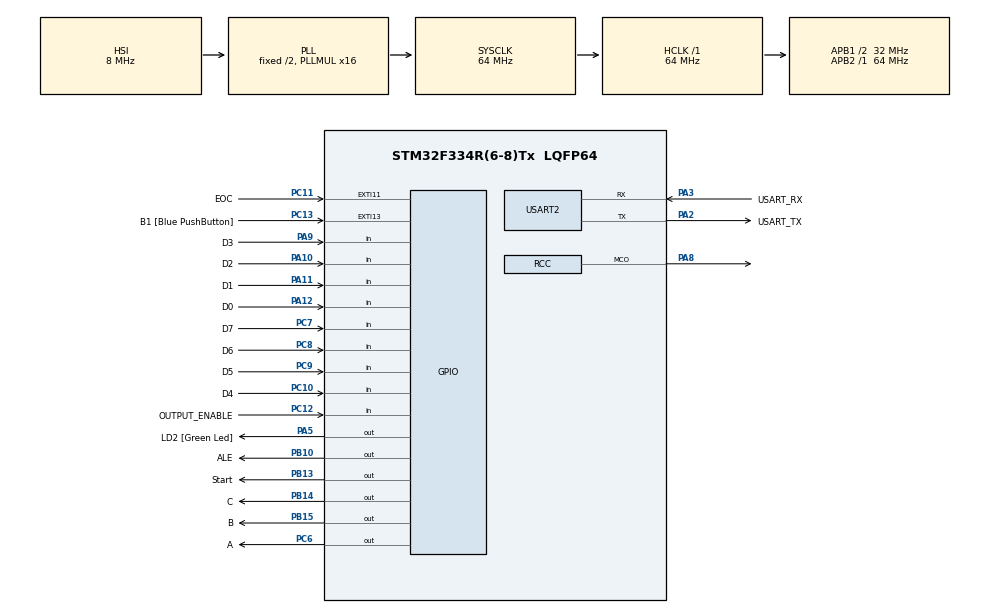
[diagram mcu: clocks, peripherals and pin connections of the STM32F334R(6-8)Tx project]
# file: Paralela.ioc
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Mcu.Family=STM32F3
Mcu.Name=STM32F334R(6-8)Tx
Mcu.Package=LQFP64
NVIC.EXTI15_10_IRQn=true\:0\:0\:false\:false\:true\:true\:true
NVIC.PriorityGroup=NVIC_PRIORITYGROUP_0
PA10.GPIO_Label=D2
PA10.Signal=GPIO_Input
PA11.GPIO_Label=D1
PA11.Signal=GPIO_Input
PA12.GPIO_Label=D0
PA12.Signal=GPIO_Input
PA13.GPIO_Label=TMS
PA13.Mode=Serial_Wire
PA13.Signal=SYS_JTMS-SWDIO
PA14.GPIO_Label=TCK
PA14.Mode=Serial_Wire
PA14.Signal=SYS_JTCK-SWCLK
PA2.GPIO_Label=USART_TX
PA2.Mode=Asynchronous
PA2.Signal=USART2_TX
PA3.GPIO_Label=USART_RX
PA3.Mode=Asynchronous
PA3.Signal=USART2_RX
PA5.GPIO_Label=LD2 [Green Led]
PA5.Signal=GPIO_Output
PA8.Mode=Clock-out
PA8.Signal=RCC_MCO
PA9.GPIO_Label=D3
PA9.Signal=GPIO_Input
PB10.GPIO_Label=ALE
PB10.Signal=GPIO_Output
PB13.GPIO_Label=Start
PB13.Signal=GPIO_Output
PB14.GPIO_Label=C
PB14.Signal=GPIO_Output
PB15.GPIO_Label=B
PB15.Signal=GPIO_Output
PB3.GPIO_Label=SWO
PB3.Signal=SYS_JTDO-TRACESWO
PC10.GPIO_Label=D4
PC10.Signal=GPIO_Input
PC11.GPIO_Label=EOC
PC11.Signal=GPXTI11
PC12.GPIO_Label=OUTPUT_ENABLE
PC12.Signal=GPIO_Input
PC13.GPIO_Label=B1 [Blue PushButton]
PC13.GPIO_ModeDefaultEXTI=GPIO_MODE_IT_FALLING
PC13.Signal=GPXTI13
PC14\ /\ OSC32_IN.Mode=LSE-External-Oscillator
PC14\ /\ OSC32_IN.Signal=RCC_OSC32_IN
PC15\ /\ OSC32_OUT.GPIO_Label=RCC_OSC32_OUT
PC15\ /\ OSC32_OUT.Mode=LSE-External-Oscillator
PC15\ /\ OSC32_OUT.Signal=RCC_OSC32_OUT
PC6.GPIO_Label=A
PC6.Signal=GPIO_Output
PC7.GPIO_Label=D7
PC7.Signal=GPIO_Input
PC8.GPIO_Label=D6
PC8.Signal=GPIO_Input
PC9.GPIO_Label=D5
PC9.Signal=GPIO_Input
PF0\ /\ OSC_IN.Mode=HSE-External-Clock-Source
PF0\ /\ OSC_IN.Signal=RCC_OSC_IN
PF1\ /\ OSC_OUT.Signal=RCC_OSC_OUT
ProjectManager.HeapSize=0x200
ProjectManager.StackSize=0x400
ProjectManager.TargetToolchain=STM32CubeIDE
RCC.AHBFreq_Value=64000000
RCC.APB1CLKDivider=RCC_HCLK_DIV2
RCC.APB1Freq_Value=32000000
RCC.APB1TimFreq_Value=64000000
RCC.APB2Freq_Value=64000000
RCC.APB2TimFreq_Value=64000000
RCC.CortexFreq_Value=64000000
RCC.FLatency-AdvancedSettings=FLASH_LATENCY_2
RCC.HCLKFreq_Value=64000000
RCC.HSE_VALUE=8000000
RCC.HSI_VALUE=8000000
RCC.PLLMUL=RCC_PLL_MUL16
RCC.RCC_MCOSource=RCC_MCO1SOURCE_LSI
RCC.SYSCLKFreq_VALUE=64000000
RCC.SYSCLKSourceVirtual=RCC_SYSCLKSOURCE_PLLCLK
USART2.VirtualMode-Asynchronous=VM_ASYNC
board=NUCLEO-F334R8

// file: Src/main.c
/* USER CODE BEGIN Header */
/**
  ******************************************************************************
  * @file           : main.c
  * @brief          : Main program body
  ******************************************************************************
  * @attention
  *
  * <h2><center>&copy; Copyright (c) 2019 STMicroelectronics.
  * All rights reserved.</center></h2>
  *
  * This software component is licensed by ST under BSD 3-Clause license,
  * the "License"; You may not use this file except in compliance with the
  * License. You may obtain a copy of the License at:
  *                        opensource.org/licenses/BSD-3-Clause
  *
  ******************************************************************************
  */
/* USER CODE END Header */

#include "main.h"

UART_HandleTypeDef huart2;

/* USER CODE BEGIN PV */
char bitDado0;
char bitDado1;
char bitDado2;
char bitDado3;
char bitDado4;
char bitDado5;
char bitDado6;
char bitDado7;

int flag_EOC=0;

char ValorLido;
char ValorEscrito;

/* USER CODE END PV */

void SystemClock_Config(void);
static void MX_GPIO_Init(void);
static void MX_USART2_UART_Init(void);

int main(void)
{
  /* USER CODE BEGIN 1 */
  HAL_UART_Transmit(&huart2, "Iniciado", 8, 1000);

  /* USER CODE END 1 */

  /* MCU Configuration--------------------------------------------------------*/

  /* Reset of all peripherals, Initializes the Flash interface and the Systick. */
  HAL_Init();

  /* Configure the system clock */
  SystemClock_Config();

  /* Initialize all configured peripherals */
  MX_GPIO_Init();
  MX_USART2_UART_Init();
  /* USER CODE BEGIN 2 */
	char outputEnable = HAL_GPIO_ReadPin(OUTPUT_ENABLE_GPIO_Port, OUTPUT_ENABLE_Pin);;

	char bitDado0 = HAL_GPIO_ReadPin(D0_GPIO_Port, D0_Pin);;  // Read state
	char bitDado1 = HAL_GPIO_ReadPin(D1_GPIO_Port, D1_Pin);;  // Read state
	char bitDado2 = HAL_GPIO_ReadPin(D2_GPIO_Port, D2_Pin);;  // Read state
	char bitDado3 = HAL_GPIO_ReadPin(D3_GPIO_Port, D3_Pin);;  // Read state
	char bitDado4 = HAL_GPIO_ReadPin(D4_GPIO_Port, D4_Pin);;  // Read state
	char bitDado5 = HAL_GPIO_ReadPin(D5_GPIO_Port, D5_Pin);;  // Read state
	char bitDado6 = HAL_GPIO_ReadPin(D6_GPIO_Port, D6_Pin);;  // Read state
	char bitDado7 = HAL_GPIO_ReadPin(D7_GPIO_Port, D7_Pin);;  // Read state

  char ValorEscrito = 0;

  	HAL_GPIO_WritePin(C_GPIO_Port, C_Pin, (ValorEscrito & 0x01));
  	HAL_GPIO_WritePin(B_GPIO_Port, B_Pin, (ValorEscrito & 0x01) >> 1);
  	HAL_GPIO_WritePin(A_GPIO_Port, A_Pin, (ValorEscrito & 0x01) >> 2);

  	HAL_GPIO_WritePin(ALE_GPIO_Port, ALE_Pin, SET);
  	HAL_Delay(100);
  	HAL_GPIO_WritePin(Start_GPIO_Port, Start_Pin, SET);
  	HAL_Delay(100);

  	HAL_GPIO_WritePin(ALE_GPIO_Port, ALE_Pin, RESET);
	HAL_Delay(100);
	HAL_GPIO_WritePin(Start_GPIO_Port, Start_Pin, RESET);
	HAL_Delay(100);

  	HAL_Delay(2000);

  	char buffer[40];
  /* USER CODE END 2 */

  /* Infinite loop */
  while (1)
  {

    /* USER CODE BEGIN 3 */

	  if(flag_EOC == 1) {
		outputEnable = HAL_GPIO_ReadPin(OUTPUT_ENABLE_GPIO_Port, OUTPUT_ENABLE_Pin);;

		bitDado0 = HAL_GPIO_ReadPin(D0_GPIO_Port, D0_Pin);;  // Read state
		bitDado1 = HAL_GPIO_ReadPin(D1_GPIO_Port, D1_Pin);;  // Read state
		bitDado2 = HAL_GPIO_ReadPin(D2_GPIO_Port, D2_Pin);;  // Read state
		bitDado3 = HAL_GPIO_ReadPin(D3_GPIO_Port, D3_Pin);;  // Read state
		bitDado4 = HAL_GPIO_ReadPin(D4_GPIO_Port, D4_Pin);;  // Read state
		bitDado5 = HAL_GPIO_ReadPin(D5_GPIO_Port, D5_Pin);;  // Read state
		bitDado6 = HAL_GPIO_ReadPin(D6_GPIO_Port, D6_Pin);;  // Read state
		bitDado7 = HAL_GPIO_ReadPin(D7_GPIO_Port, D7_Pin);;  // Read state

		ValorLido = bitDado0|(bitDado1<<1)|(bitDado2<<2)|(bitDado3<<3)|(bitDado4<<4)|(bitDado5<<5)|(bitDado6<<6)|(bitDado7<<7);
		flag_EOC = 0;
	  }

  	  sprintf(buffer,"ValorLido: %d\r\n", ValorLido);

	  HAL_UART_Transmit(&huart2, buffer, strlen(buffer), 1000);
	  HAL_Delay(1000);

	}
  /* USER CODE END 3 */
}

void SystemClock_Config(void)
{
  RCC_OscInitTypeDef RCC_OscInitStruct = {0};
  RCC_ClkInitTypeDef RCC_ClkInitStruct = {0};

  /** Initializes the CPU, AHB and APB busses clocks
  */
  RCC_OscInitStruct.OscillatorType = RCC_OSCILLATORTYPE_HSI|RCC_OSCILLATORTYPE_LSI;
  RCC_OscInitStruct.HSIState = RCC_HSI_ON;
  RCC_OscInitStruct.HSICalibrationValue = RCC_HSICALIBRATION_DEFAULT;
  RCC_OscInitStruct.LSIState = RCC_LSI_ON;
  RCC_OscInitStruct.PLL.PLLState = RCC_PLL_ON;
  RCC_OscInitStruct.PLL.PLLSource = RCC_PLLSOURCE_HSI;
  RCC_OscInitStruct.PLL.PLLMUL = RCC_PLL_MUL16;
  if (HAL_RCC_OscConfig(&RCC_OscInitStruct) != HAL_OK)
  {
    Error_Handler();
  }
  /** Initializes the CPU, AHB and APB busses clocks
  */
  RCC_ClkInitStruct.ClockType = RCC_CLOCKTYPE_HCLK|RCC_CLOCKTYPE_SYSCLK
                              |RCC_CLOCKTYPE_PCLK1|RCC_CLOCKTYPE_PCLK2;
  RCC_ClkInitStruct.SYSCLKSource = RCC_SYSCLKSOURCE_PLLCLK;
  RCC_ClkInitStruct.AHBCLKDivider = RCC_SYSCLK_DIV1;
  RCC_ClkInitStruct.APB1CLKDivider = RCC_HCLK_DIV2;
  RCC_ClkInitStruct.APB2CLKDivider = RCC_HCLK_DIV1;

  if (HAL_RCC_ClockConfig(&RCC_ClkInitStruct, FLASH_LATENCY_2) != HAL_OK)
  {
    Error_Handler();
  }
  HAL_RCC_MCOConfig(RCC_MCO, RCC_MCO1SOURCE_LSI, RCC_MCODIV_1);
}

static void MX_USART2_UART_Init(void)
{

  huart2.Instance = USART2;
  huart2.Init.BaudRate = 38400;
  huart2.Init.WordLength = UART_WORDLENGTH_8B;
  huart2.Init.StopBits = UART_STOPBITS_1;
  huart2.Init.Parity = UART_PARITY_NONE;
  huart2.Init.Mode = UART_MODE_TX_RX;
  huart2.Init.HwFlowCtl = UART_HWCONTROL_NONE;
  huart2.Init.OverSampling = UART_OVERSAMPLING_16;
  huart2.Init.OneBitSampling = UART_ONE_BIT_SAMPLE_DISABLE;
  huart2.AdvancedInit.AdvFeatureInit = UART_ADVFEATURE_NO_INIT;
  if (HAL_UART_Init(&huart2) != HAL_OK)
  {
    Error_Handler();
  }

}

static void MX_GPIO_Init(void)
{
  GPIO_InitTypeDef GPIO_InitStruct = {0};

  /* GPIO Ports Clock Enable */
  __HAL_RCC_GPIOC_CLK_ENABLE();
  __HAL_RCC_GPIOF_CLK_ENABLE();
  __HAL_RCC_GPIOA_CLK_ENABLE();
  __HAL_RCC_GPIOB_CLK_ENABLE();

  /*Configure GPIO pin Output Level */
  HAL_GPIO_WritePin(LD2_GPIO_Port, LD2_Pin, GPIO_PIN_RESET);

  /*Configure GPIO pin Output Level */
  HAL_GPIO_WritePin(GPIOB, ALE_Pin|Start_Pin|C_Pin|B_Pin, GPIO_PIN_RESET);

  /*Configure GPIO pin Output Level */
  HAL_GPIO_WritePin(A_GPIO_Port, A_Pin, GPIO_PIN_RESET);

  /*Configure GPIO pin : B1_Pin */
  GPIO_InitStruct.Pin = B1_Pin;
  GPIO_InitStruct.Mode = GPIO_MODE_IT_FALLING;
  GPIO_InitStruct.Pull = GPIO_NOPULL;
  HAL_GPIO_Init(B1_GPIO_Port, &GPIO_InitStruct);

  /*Configure GPIO pin : LD2_Pin */
  GPIO_InitStruct.Pin = LD2_Pin;
  GPIO_InitStruct.Mode = GPIO_MODE_OUTPUT_PP;
  GPIO_InitStruct.Pull = GPIO_NOPULL;
  GPIO_InitStruct.Speed = GPIO_SPEED_FREQ_LOW;
  HAL_GPIO_Init(LD2_GPIO_Port, &GPIO_InitStruct);

  /*Configure GPIO pins : ALE_Pin Start_Pin C_Pin B_Pin */
  GPIO_InitStruct.Pin = ALE_Pin|Start_Pin|C_Pin|B_Pin;
  GPIO_InitStruct.Mode = GPIO_MODE_OUTPUT_PP;
  GPIO_InitStruct.Pull = GPIO_NOPULL;
  GPIO_InitStruct.Speed = GPIO_SPEED_FREQ_LOW;
  HAL_GPIO_Init(GPIOB, &GPIO_InitStruct);

  /*Configure GPIO pin : A_Pin */
  GPIO_InitStruct.Pin = A_Pin;
  GPIO_InitStruct.Mode = GPIO_MODE_OUTPUT_PP;
  GPIO_InitStruct.Pull = GPIO_NOPULL;
  GPIO_InitStruct.Speed = GPIO_SPEED_FREQ_LOW;
  HAL_GPIO_Init(A_GPIO_Port, &GPIO_InitStruct);

  /*Configure GPIO pins : D7_Pin D6_Pin D5_Pin D4_Pin
                           OUTPUT_ENABLE_Pin */
  GPIO_InitStruct.Pin = D7_Pin|D6_Pin|D5_Pin|D4_Pin
                          |OUTPUT_ENABLE_Pin;
  GPIO_InitStruct.Mode = GPIO_MODE_INPUT;
  GPIO_InitStruct.Pull = GPIO_NOPULL;
  HAL_GPIO_Init(GPIOC, &GPIO_InitStruct);

  /*Configure GPIO pin : PA8 */
  GPIO_InitStruct.Pin = GPIO_PIN_8;
  GPIO_InitStruct.Mode = GPIO_MODE_AF_PP;
  GPIO_InitStruct.Pull = GPIO_NOPULL;
  GPIO_InitStruct.Speed = GPIO_SPEED_FREQ_LOW;
  GPIO_InitStruct.Alternate = GPIO_AF0_MCO;
  HAL_GPIO_Init(GPIOA, &GPIO_InitStruct);

  /*Configure GPIO pins : D3_Pin D2_Pin D1_Pin D0_Pin */
  GPIO_InitStruct.Pin = D3_Pin|D2_Pin|D1_Pin|D0_Pin;
  GPIO_InitStruct.Mode = GPIO_MODE_INPUT;
  GPIO_InitStruct.Pull = GPIO_NOPULL;
  HAL_GPIO_Init(GPIOA, &GPIO_InitStruct);

  /*Configure GPIO pin : EOC_Pin */
  GPIO_InitStruct.Pin = EOC_Pin;
  GPIO_InitStruct.Mode = GPIO_MODE_IT_RISING;
  GPIO_InitStruct.Pull = GPIO_NOPULL;
  HAL_GPIO_Init(EOC_GPIO_Port, &GPIO_InitStruct);

  /* EXTI interrupt init*/
  HAL_NVIC_SetPriority(EXTI15_10_IRQn, 0, 0);
  HAL_NVIC_EnableIRQ(EXTI15_10_IRQn);

}

/* USER CODE BEGIN 4 */
void HAL_GPIO_EXTI_Callback(uint16_t GPIO_Pin)
{
	if(GPIO_Pin == EOC_Pin) {
		flag_EOC = 1;
	}
}
/* USER CODE END 4 */

void Error_Handler(void)
{
}

/************************ (C) COPYRIGHT STMicroelectronics *****END OF FILE****/
